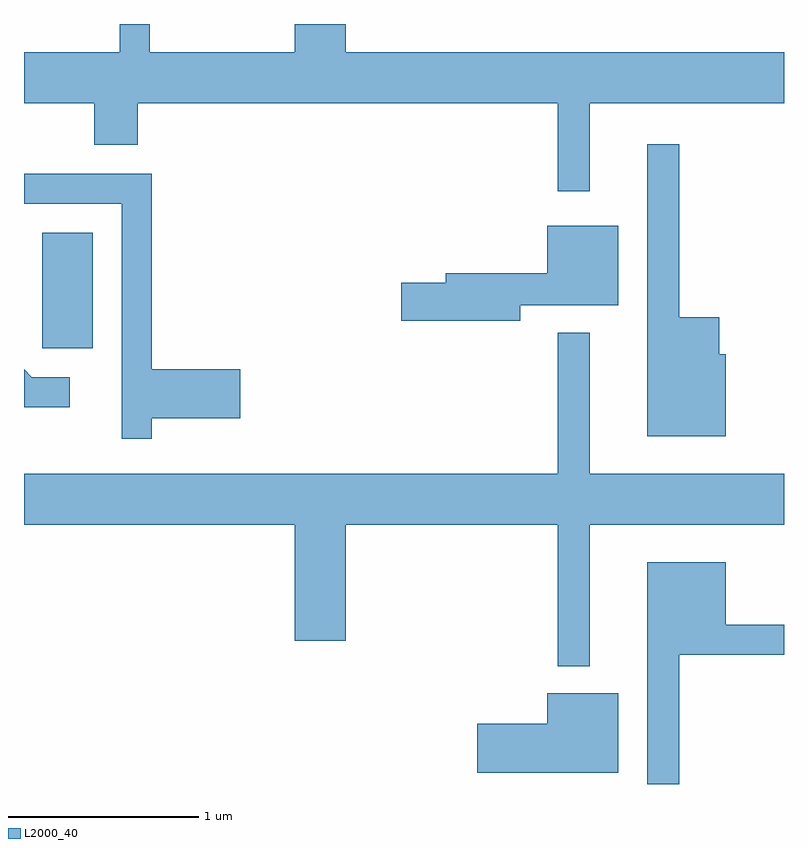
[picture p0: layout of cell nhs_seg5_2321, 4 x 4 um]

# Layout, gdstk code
import gdstk
lib = gdstk.Library(unit=1e-6, precision=1e-09)
def R(c, l, rs):  # rectangles x0, y0, x1, y1
    for r in rs: c.add(gdstk.rectangle(r[:2], r[2:], *l))
def P(c, l, *ps):  # polygons
    for p in ps: c.add(gdstk.Polygon(p, *l))
L2000_40 = (2000, 40)

nhs_seg5_2321 = lib.new_cell('nhs_seg5_2321')
R(nhs_seg5_2321, L2000_40, [(253.706,1484.366,253.974,1484.974)])
P(nhs_seg5_2321, L2000_40, [(256.589,1485.656),(257.611,1485.656),(257.611,1485.924),(255.304,1485.924),(255.304,1486.072),(255.036,1486.072),(255.036,1485.924),(254.274,1485.924),(254.274,1486.072),(254.116,1486.072),(254.116,1485.924),(253.611,1485.924),(253.611,1485.656),(253.981,1485.656),(253.981,1485.436),(254.209,1485.436),(254.209,1485.656),(256.421,1485.656),(256.421,1485.193),(256.589,1485.193)],
  [(257.304,1484.334),(257.269,1484.334),(257.269,1484.529),(257.059,1484.529),(257.059,1485.438),(256.891,1485.438),(256.891,1483.901),(257.304,1483.901)],
  [(254.284,1483.996),(254.749,1483.996),(254.749,1484.254),(254.284,1484.254),(254.284,1485.284),(253.611,1485.284),(253.611,1485.126),(254.126,1485.126),(254.126,1483.888),(254.284,1483.888)],
  [(256.224,1484.591),(256.739,1484.591),(256.739,1485.009),(256.366,1485.009),(256.366,1484.759),(255.831,1484.759),(255.831,1484.709),(255.596,1484.709),(255.596,1484.511),(256.224,1484.511)],
  [(256.589,1483.436),(257.611,1483.436),(257.611,1483.704),(256.589,1483.704),(256.589,1484.448),(256.421,1484.448),(256.421,1483.704),(253.611,1483.704),(253.611,1483.436),(255.036,1483.436),(255.036,1482.826),(255.304,1482.826),(255.304,1483.436),(256.421,1483.436),(256.421,1482.693),(256.589,1482.693)],
  [(253.853,1484.214),(253.652,1484.214),(253.611,1484.255),(253.611,1484.056),(253.853,1484.056)],
  [(257.059,1482.751),(257.611,1482.751),(257.611,1482.909),(257.304,1482.909),(257.304,1483.239),(256.891,1483.239),(256.891,1482.072),(257.059,1482.072)],
  [(256.739,1482.549),(256.366,1482.549),(256.366,1482.389),(255.996,1482.389),(255.996,1482.131),(256.739,1482.131)])

lib.write_gds('nhs_seg5_2321.gds')
